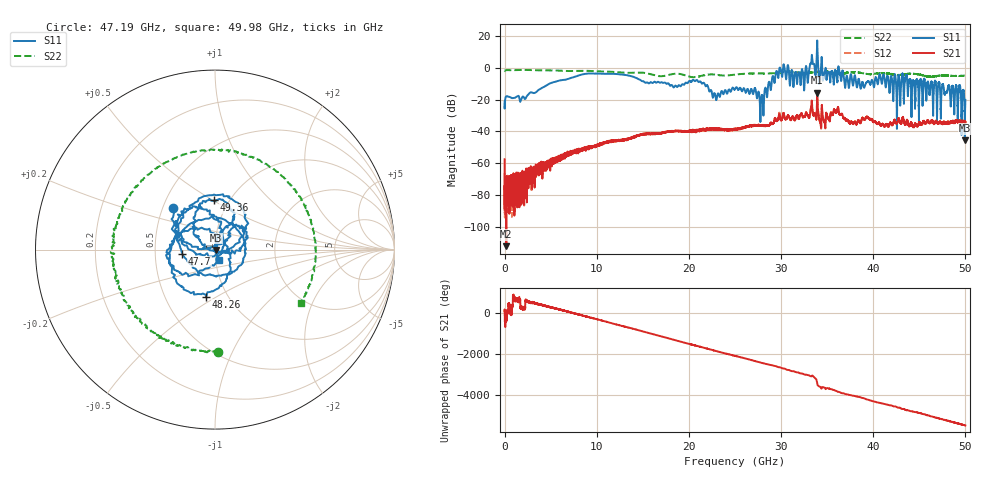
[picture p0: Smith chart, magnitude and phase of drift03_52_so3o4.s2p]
!Created with skrf (http://scikit-rf.org).
# Hz S RI R 50.0
!freq ReS11 ImS11 ReS21 ImS21 ReS12 ImS12 ReS22 ImS22
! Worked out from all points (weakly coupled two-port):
!   10001 points, 300 kHz to 50 GHz, reference 50 ohm
!   highest |S21| = -15.60 dB at 33.92 GHz (marker M1); lowest = -112.2 dB at 185.3 MHz (marker M2)
!   lowest |S11| = -45.6 dB at 49.94 GHz (marker M3), VSWR 1.01, Z = 50.5 - j0.209 ohm
!   |S11| at or under -10 dB: start of sweep to 4.849 GHz; 21.69 GHz to 28.62 GHz (6.934 GHz wide, 27.6 % of centre); 47.2 GHz to end of sweep (the widest 3 of 40)
!   |S22| runs from -5.9 to -1.3 dB; largest |S21 - S12| = 0.02
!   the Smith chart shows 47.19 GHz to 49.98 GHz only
!   S11 on the Smith chart (normalised r, x): 47.19 GHz: 0.56, +0.30; 47.7 GHz: 0.69, -0.03; 48.26 GHz: 0.79, -0.45; 49.36 GHz: 0.85, +0.51; 49.98 GHz: 1.04, -0.13
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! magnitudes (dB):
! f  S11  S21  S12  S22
! 300 kHz  -21.4  -57.5  -66.2  -2.1
! 185.3 MHz  -17.9  -112.2  -90.9  -1.5
! 8.335 GHz  -4.3  -51.6  -51.3  -1.9
! 16.67 GHz  -8.8  -41.4  -41.4  -5.2
! 21.01 GHz  -8.8  -39.5  -39.3  -5.5
! 22.81 GHz  -16.1  -38.3  -38.3  -4.3
! 25 GHz  -13.4  -38.8  -38.6  -4.3
! 27.02 GHz  -15.7  -36.4  -36.2  -3.5
! 27.92 GHz  -17.1  -36.1  -36.4  -3.5
! 29.69 GHz  -6.4  -32.1  -31.8  -3.1
! 32.32 GHz  -1.5  -30.5  -30.6  -3.3
! 33.34 GHz  8.0  -20.6  -20.8  -2.9
! 33.92 GHz  17.2  -15.6  -15.9  -2.5
! 38.82 GHz  -9.0  -31.5  -31.7  -3.3
! 41.67 GHz  -8.9  -36.8  -36.5  -3.7
! 47.19 GHz  -9.6  -33.8  -34.0  -4.9
! 47.7 GHz  -14.7  -34.2  -34.3  -4.7
! 48.26 GHz  -11.5  -34.5  -34.6  -5.0
! 49.36 GHz  -11.2  -33.2  -33.9  -5.1
! 49.94 GHz  -45.6  -34.1  -34.0  -5.0
! 49.98 GHz  -23.7  -34.5  -34.3  -5.0
! 50 GHz  -20.2  -35.0  -34.3  -4.9
